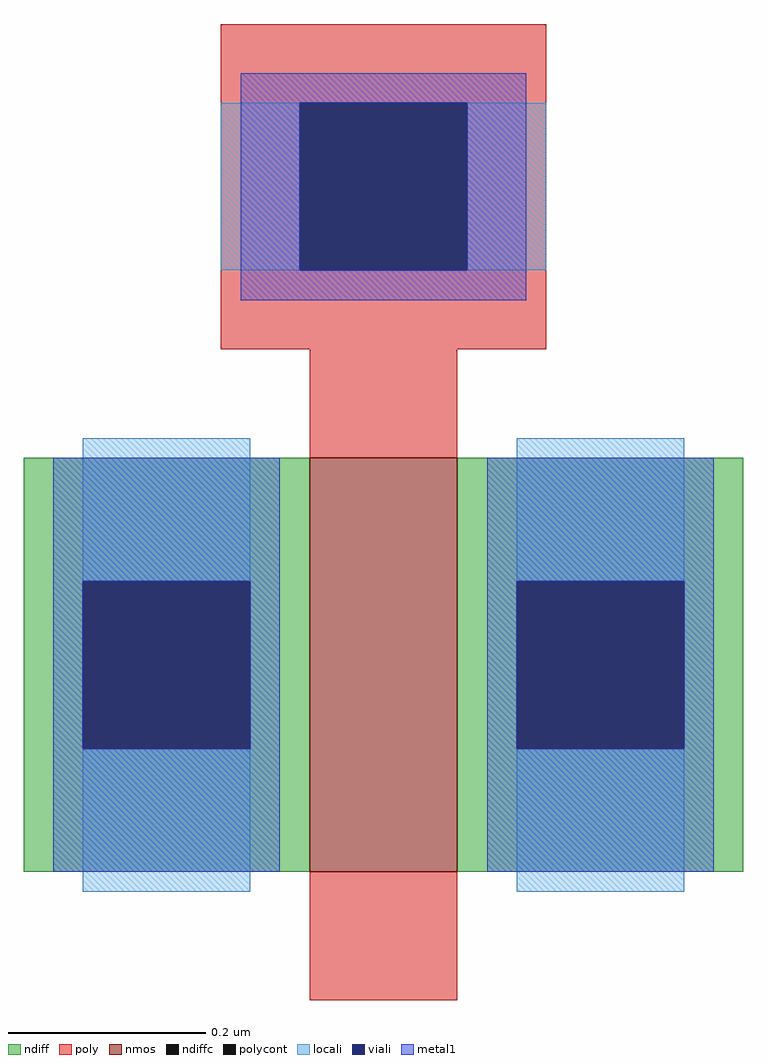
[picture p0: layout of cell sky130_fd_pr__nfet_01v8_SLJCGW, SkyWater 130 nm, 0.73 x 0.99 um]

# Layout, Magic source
magic
tech sky130A
magscale 1 2
<< nmos >>
rect -15 -73 15 11
<< ndiff >>
rect -73 -14 -15 11
rect -73 -48 -61 -14
rect -27 -48 -15 -14
rect -73 -73 -15 -48
rect 15 -14 73 11
rect 15 -48 27 -14
rect 61 -48 73 -14
rect 15 -73 73 -48
<< ndiffc >>
rect -61 -48 -27 -14
rect 27 -48 61 -14
<< poly >>
rect -33 83 33 99
rect -33 49 -17 83
rect 17 49 33 83
rect -33 33 33 49
rect -15 11 15 33
rect -15 -99 15 -73
<< polycont >>
rect -17 49 17 83
<< locali >>
rect -33 49 -17 83
rect 17 49 33 83
rect -61 -14 -27 15
rect -61 -77 -27 -48
rect 27 -14 61 15
rect 27 -77 61 -48
<< viali >>
rect -17 49 17 83
rect -61 -48 -27 -14
rect 27 -48 61 -14
<< metal1 >>
rect -29 83 29 89
rect -29 49 -17 83
rect 17 49 29 83
rect -29 43 29 49
rect -67 -14 -21 11
rect -67 -48 -61 -14
rect -27 -48 -21 -14
rect -67 -73 -21 -48
rect 21 -14 67 11
rect 21 -48 27 -14
rect 61 -48 67 -14
rect 21 -73 67 -48
<< end >>
